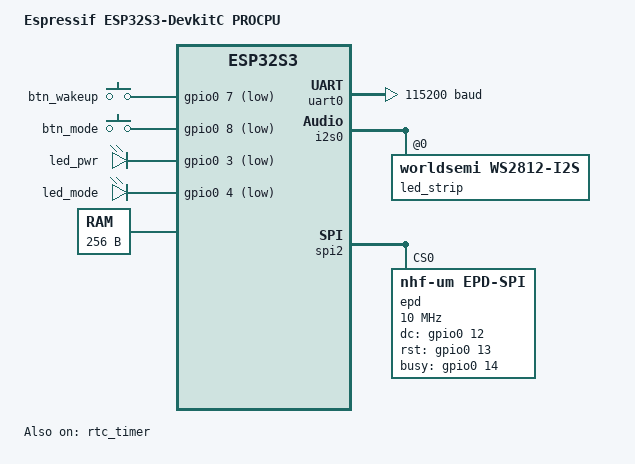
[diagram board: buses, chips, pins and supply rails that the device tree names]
/*
 * Copyright (c) 2024-2025 Espressif Systems (Shanghai) Co., Ltd.
 *
 * SPDX-License-Identifier: Apache-2.0
 */
/dts-v1/;

#include <espressif/esp32s3/esp32s3_wroom_n16r8.dtsi>
#include <espressif/partitions_0x0_default_16M.dtsi>
#include "flowink_esp32s3-pinctrl.dtsi"
#include <zephyr/dt-bindings/led/led.h>

/ {
	model = "Espressif ESP32S3-DevkitC PROCPU";
	compatible = "espressif,esp32s3";

	aliases {
		uart-0 = &uart0;
	};

	chosen {
		zephyr,sram = &sram1;
		zephyr,console = &uart0;
		zephyr,shell-uart = &uart0;
		zephyr,flash = &flash0;
		zephyr,code-partition = &slot0_partition;
	};

	buttons {
		compatible = "gpio-keys";

		btn_wakeup: btn0 {
			gpios = <&gpio0 7 (GPIO_PULL_UP | GPIO_ACTIVE_LOW | GPIO_INT_WAKEUP)>;
		};

		btn_mode: btn1 {
			gpios = <&gpio0 8 (GPIO_PULL_UP | GPIO_ACTIVE_LOW)>;
		};
	};

	leds {
		compatible = "gpio-leds";

		led_pwr: led0 {
			gpios = <&gpio0 3 GPIO_ACTIVE_LOW>;
		};

		led_mode: led1 {
			gpios = <&gpio0 4 GPIO_ACTIVE_LOW>;
		};
	};

	/* 从 rtc-slow-ram 分了256字节出来，用 remained-ram 组件管理 */
	memory@50001f00 {
		compatible = "zephyr,memory-region", "mmio-sram";
		reg = <0x50001f00 0x100>;
		zephyr,memory-region = "RTC_SLOW_RAM_RETAINED_MEM";
		status = "okay";

		retained_mem0: retaine_mem {
			compatible = "zephyr,retained-ram";
			status = "okay";
		};
	};

	/* 为什么采用 &wifi{status = "okay";} 的方式会报错？？ */
	wifi_ap: wifi_ap {
		compatible = "espressif,esp32-wifi";
		status = "okay";
	};
};

&rtc_timer {
	status = "okay";
	wakeup-source;
};

&rtc_slow_ram {
	/* Shrink rtc_slow_ram size to avoid overlap with retained memory region:
	 * 8KB - 256 = 0x1f00
	 */
	reg = <0x50000000 0x1f00>;
};

&gpio0 {
	/* Configure device as wakeup source */
	wakeup-source;
};

&uart0 {
	status = "okay";
	current-speed = <115200>;
	pinctrl-0 = <&uart0_default>;
	pinctrl-names = "default";
};

&i2s0 {
	status = "okay";

	pinctrl-0 = <&i2s0_default>;
	pinctrl-names = "default";

	dmas = <&dma 3>;
	dma-names = "tx";

	led_strip: ws2812@0 {
		compatible = "worldsemi,ws2812-i2s";

		reg = <0>;
		chain-length = <1>;
		color-mapping = <LED_COLOR_ID_GREEN
				 LED_COLOR_ID_RED
				 LED_COLOR_ID_BLUE>;
		reset-delay = <500>;
	};
};

&dma {
	status = "okay";
};

&psram0 {
	size = <DT_SIZE_M(8)>;
};

&spi2 {
	#address-cells = <1>;
	#size-cells = <0>;
	status = "okay";
	pinctrl-0 = <&spim2_default>;
	pinctrl-names = "default";
		
	/* 9 is MOSI, 10 is SCLK，11 is CS */
	epd: epd@0 {
		compatible = "nhf-um,epd-spi";
		reg = <0>;
		spi-max-frequency = <10000000>;

		dc-gpios = <&gpio0 12 GPIO_ACTIVE_HIGH>;
		rst-gpios = <&gpio0 13 GPIO_ACTIVE_HIGH>;
		busy-gpios = <&gpio0 14 (GPIO_ACTIVE_HIGH | GPIO_PULL_UP)>; 
	};
};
